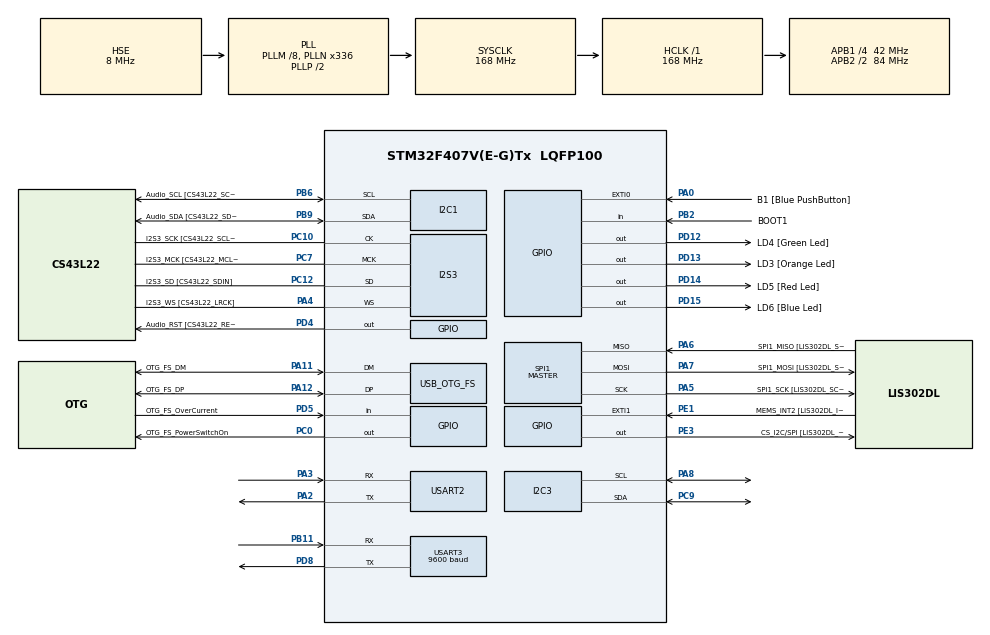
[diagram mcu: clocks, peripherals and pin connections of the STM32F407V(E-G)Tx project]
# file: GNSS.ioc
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Dma.Request0=USART3_RX
Dma.USART3_RX.0.Direction=DMA_PERIPH_TO_MEMORY
Dma.USART3_RX.0.FIFOMode=DMA_FIFOMODE_DISABLE
Dma.USART3_RX.0.Instance=DMA1_Stream1
Dma.USART3_RX.0.MemDataAlignment=DMA_MDATAALIGN_BYTE
Dma.USART3_RX.0.MemInc=DMA_MINC_ENABLE
Dma.USART3_RX.0.Mode=DMA_NORMAL
Dma.USART3_RX.0.PeriphDataAlignment=DMA_PDATAALIGN_BYTE
Dma.USART3_RX.0.PeriphInc=DMA_PINC_DISABLE
Dma.USART3_RX.0.Priority=DMA_PRIORITY_LOW
I2C3.I2C_Mode=I2C_Fast
I2S3.AudioFreq-Half_Duplex_Master=I2S_AUDIOFREQ_96K
I2S3.ErrorAudioFreq=-2.34 %
I2S3.ErrorAudioFreq-Half_Duplex_Master=0.8 %
I2S3.FullDuplexMode=I2S_FULLDUPLEXMODE_DISABLE
I2S3.Instance=SPI$Index
I2S3.RealAudioFreq=93.75 KHz
I2S3.RealAudioFreq-Half_Duplex_Master=96.774 KHz
I2S3.VirtualMode=I2S_MODE_MASTER
Mcu.Family=STM32F4
Mcu.Name=STM32F407V(E-G)Tx
Mcu.Package=LQFP100
NVIC.DMA1_Stream1_IRQn=true\:0\:0\:false\:false\:true\:false\:true
NVIC.OTG_FS_IRQn=true\:0\:0\:false\:false\:true\:true\:true
NVIC.PriorityGroup=NVIC_PRIORITYGROUP_0
PA0-WKUP.GPIO_Label=B1 [Blue PushButton]
PA0-WKUP.GPIO_ModeDefaultEXTI=GPIO_MODE_EVT_RISING
PA0-WKUP.GPIO_PuPd=GPIO_NOPULL
PA0-WKUP.Signal=GPXTI0
PA10.GPIO_Label=OTG_FS_ID
PA10.GPIO_Mode=GPIO_MODE_AF_PP
PA10.GPIO_PuPd=GPIO_NOPULL
PA10.GPIO_Speed=GPIO_SPEED_FREQ_LOW
PA10.Signal=USB_OTG_FS_ID
PA11.GPIO_Label=OTG_FS_DM
PA11.GPIO_Mode=GPIO_MODE_AF_PP
PA11.GPIO_PuPd=GPIO_NOPULL
PA11.GPIO_Speed=GPIO_SPEED_FREQ_LOW
PA11.Mode=Device_Only
PA11.Signal=USB_OTG_FS_DM
PA12.GPIO_Label=OTG_FS_DP
PA12.GPIO_Mode=GPIO_MODE_AF_PP
PA12.GPIO_PuPd=GPIO_NOPULL
PA12.GPIO_Speed=GPIO_SPEED_FREQ_LOW
PA12.Mode=Device_Only
PA12.Signal=USB_OTG_FS_DP
PA13.GPIO_Label=SWDIO
PA13.Mode=Serial_Wire
PA13.Signal=SYS_JTMS-SWDIO
PA14.GPIO_Label=SWCLK
PA14.Mode=Serial_Wire
PA14.Signal=SYS_JTCK-SWCLK
PA2.Mode=Asynchronous
PA2.Signal=USART2_TX
PA3.Mode=Asynchronous
PA3.Signal=USART2_RX
PA4.GPIO_Label=I2S3_WS [CS43L22_LRCK]
PA4.GPIO_Mode=GPIO_MODE_AF_PP
PA4.GPIO_PuPd=GPIO_NOPULL
PA4.GPIO_Speed=GPIO_SPEED_FREQ_LOW
PA4.Mode=Half_Duplex_Master
PA4.Signal=I2S3_WS
PA5.GPIO_Label=SPI1_SCK [LIS302DL_SCL/SPC]
PA5.GPIO_Mode=GPIO_MODE_AF_PP
PA5.GPIO_PuPd=GPIO_NOPULL
PA5.GPIO_Speed=GPIO_SPEED_FREQ_LOW
PA5.Mode=Full_Duplex_Master
PA5.Signal=SPI1_SCK
PA6.GPIO_Label=SPI1_MISO [LIS302DL_SDO]
PA6.GPIO_Mode=GPIO_MODE_AF_PP
PA6.GPIO_PuPd=GPIO_NOPULL
PA6.GPIO_Speed=GPIO_SPEED_FREQ_LOW
PA6.Mode=Full_Duplex_Master
PA6.Signal=SPI1_MISO
PA7.GPIO_Label=SPI1_MOSI [LIS302DL_SDA/SDI/SDO]
PA7.GPIO_Mode=GPIO_MODE_AF_PP
PA7.GPIO_PuPd=GPIO_NOPULL
PA7.GPIO_Speed=GPIO_SPEED_FREQ_LOW
PA7.Mode=Full_Duplex_Master
PA7.Signal=SPI1_MOSI
PA8.GPIO_Pu=GPIO_PULLUP
PA8.Mode=I2C
PA8.Signal=I2C3_SCL
PA9.GPIO_Label=VBUS_FS
PA9.GPIO_Mode=GPIO_MODE_INPUT
PA9.GPIO_PuPd=GPIO_NOPULL
PA9.Signal=USB_OTG_FS_VBUS
PB10.GPIO_Label=CLK_IN [MP45DT02_CLK]
PB10.GPIO_Mode=GPIO_MODE_AF_PP
PB10.GPIO_PuPd=GPIO_NOPULL
PB10.GPIO_Speed=GPIO_SPEED_FREQ_LOW
PB10.Signal=I2S2_CK
PB11.Mode=Asynchronous
PB11.Signal=USART3_RX
PB2.GPIO_Label=BOOT1
PB2.GPIO_Mode=GPIO_MODE_INPUT
PB2.GPIO_PuPd=GPIO_NOPULL
PB2.Signal=GPIO_Input
PB3.GPIO_Label=SWO
PB3.Signal=SYS_JTDO-SWO
PB6.GPIO_Label=Audio_SCL [CS43L22_SCL]
PB6.GPIO_Mode=GPIO_MODE_AF_OD
PB6.GPIO_Pu=GPIO_PULLUP
PB6.GPIO_PuPd=GPIO_NOPULL
PB6.GPIO_Speed=GPIO_SPEED_FREQ_LOW
PB6.Mode=I2C
PB6.Signal=I2C1_SCL
PB9.GPIO_Label=Audio_SDA [CS43L22_SDA]
PB9.GPIO_Mode=GPIO_MODE_AF_OD
PB9.GPIO_Pu=GPIO_PULLUP
PB9.GPIO_PuPd=GPIO_NOPULL
PB9.GPIO_Speed=GPIO_SPEED_FREQ_LOW
PB9.Mode=I2C
PB9.Signal=I2C1_SDA
PC0.GPIO_Label=OTG_FS_PowerSwitchOn
PC0.GPIO_PuPd=GPIO_NOPULL
PC0.GPIO_Speed=GPIO_SPEED_FREQ_LOW
PC0.PinState=GPIO_PIN_SET
PC0.Signal=GPIO_Output
PC10.GPIO_Label=I2S3_SCK [CS43L22_SCLK]
PC10.GPIO_Mode=GPIO_MODE_AF_PP
PC10.GPIO_PuPd=GPIO_NOPULL
PC10.GPIO_Speed=GPIO_SPEED_FREQ_LOW
PC10.Mode=Half_Duplex_Master
PC10.Signal=I2S3_CK
PC12.GPIO_Label=I2S3_SD [CS43L22_SDIN]
PC12.GPIO_Mode=GPIO_MODE_AF_PP
PC12.GPIO_PuPd=GPIO_NOPULL
PC12.GPIO_Speed=GPIO_SPEED_FREQ_LOW
PC12.Mode=Half_Duplex_Master
PC12.Signal=I2S3_SD
PC14-OSC32_IN.GPIO_Label=PC14-OSC32_IN
PC14-OSC32_IN.Mode=LSE-External-Oscillator
PC14-OSC32_IN.Signal=RCC_OSC32_IN
PC15-OSC32_OUT.GPIO_Label=PC15-OSC32_OUT
PC15-OSC32_OUT.Mode=LSE-External-Oscillator
PC15-OSC32_OUT.Signal=RCC_OSC32_OUT
PC3.GPIO_Label=PDM_OUT [MP45DT02_DOUT]
PC3.GPIO_Mode=GPIO_MODE_AF_PP
PC3.GPIO_PuPd=GPIO_NOPULL
PC3.GPIO_Speed=GPIO_SPEED_FREQ_LOW
PC3.Signal=I2S2_SD
PC7.GPIO_Label=I2S3_MCK [CS43L22_MCLK]
PC7.GPIO_Mode=GPIO_MODE_AF_PP
PC7.GPIO_PuPd=GPIO_NOPULL
PC7.GPIO_Speed=GPIO_SPEED_FREQ_LOW
PC7.Mode=Master_Clock_Activated
PC7.Signal=I2S3_MCK
PC9.GPIO_Pu=GPIO_PULLUP
PC9.Mode=I2C
PC9.Signal=I2C3_SDA
PD12.GPIO_Label=LD4 [Green Led]
PD12.GPIO_PuPd=GPIO_NOPULL
PD12.GPIO_Speed=GPIO_SPEED_FREQ_LOW
PD12.Signal=GPIO_Output
PD13.GPIO_Label=LD3 [Orange Led]
PD13.GPIO_PuPd=GPIO_NOPULL
PD13.GPIO_Speed=GPIO_SPEED_FREQ_LOW
PD13.Signal=GPIO_Output
PD14.GPIO_Label=LD5 [Red Led]
PD14.GPIO_PuPd=GPIO_NOPULL
PD14.GPIO_Speed=GPIO_SPEED_FREQ_LOW
PD14.Signal=GPIO_Output
PD15.GPIO_Label=LD6 [Blue Led]
PD15.GPIO_PuPd=GPIO_NOPULL
PD15.GPIO_Speed=GPIO_SPEED_FREQ_LOW
PD15.Signal=GPIO_Output
PD4.GPIO_Label=Audio_RST [CS43L22_RESET]
PD4.GPIO_PuPd=GPIO_NOPULL
PD4.GPIO_Speed=GPIO_SPEED_FREQ_LOW
PD4.Signal=GPIO_Output
PD5.GPIO_Label=OTG_FS_OverCurrent
PD5.GPIO_Mode=GPIO_MODE_INPUT
PD5.GPIO_PuPd=GPIO_NOPULL
PD5.Signal=GPIO_Input
PD8.Mode=Asynchronous
PD8.Signal=USART3_TX
PE1.GPIO_Label=MEMS_INT2 [LIS302DL_INT2]
PE1.GPIO_ModeDefaultEXTI=GPIO_MODE_EVT_RISING
PE1.GPIO_PuPd=GPIO_NOPULL
PE1.Signal=GPXTI1
PE3.GPIO_Label=CS_I2C/SPI [LIS302DL_CS_I2C/SPI]
PE3.GPIO_PuPd=GPIO_NOPULL
PE3.GPIO_Speed=GPIO_SPEED_FREQ_LOW
PE3.Signal=GPIO_Output
PH0-OSC_IN.GPIO_Label=PH0-OSC_IN
PH0-OSC_IN.Mode=HSE-External-Oscillator
PH0-OSC_IN.Signal=RCC_OSC_IN
PH1-OSC_OUT.GPIO_Label=PH1-OSC_OUT
PH1-OSC_OUT.Mode=HSE-External-Oscillator
PH1-OSC_OUT.Signal=RCC_OSC_OUT
ProjectManager.HeapSize=0xC00
ProjectManager.StackSize=0x400
ProjectManager.TargetToolchain=STM32CubeIDE
RCC.48MHZClocksFreq_Value=48000000
RCC.AHBFreq_Value=168000000
RCC.APB1CLKDivider=RCC_HCLK_DIV4
RCC.APB1Freq_Value=42000000
RCC.APB1TimFreq_Value=84000000
RCC.APB2CLKDivider=RCC_HCLK_DIV2
RCC.APB2Freq_Value=84000000
RCC.APB2TimFreq_Value=168000000
RCC.CortexFreq_Value=168000000
RCC.HCLKFreq_Value=168000000
RCC.HSE_VALUE=8000000
RCC.HSI_VALUE=16000000
RCC.PLLM=8
RCC.PLLN=336
RCC.PLLQ=7
RCC.SYSCLKFreq_VALUE=168000000
RCC.SYSCLKSource=RCC_SYSCLKSOURCE_PLLCLK
RCC.VCOOutputFreq_Value=336000000
SPI1.BaudRatePrescaler-Full_Duplex_Master=SPI_BAUDRATEPRESCALER_2
SPI1.CalculateBaudRate-Full_Duplex_Master=42.0 MBits/s
SPI1.Direction=SPI_DIRECTION_2LINES
SPI1.Mode=SPI_MODE_MASTER
SPI1.Mode-Full_Duplex_Master=SPI_MODE_MASTER
SPI1.VirtualType=VM_MASTER
USART2.VirtualMode=VM_ASYNC
USART3.BaudRate=9600
USART3.VirtualMode=VM_ASYNC
USB_DEVICE.CLASS_NAME_FS=CDC
USB_DEVICE.VirtualMode-CDC_FS=Cdc
USB_DEVICE.VirtualModeFS=Cdc_FS
USB_OTG_FS.VirtualMode=Device_Only
VP_USB_DEVICE_VS_USB_DEVICE_CDC_FS.Mode=CDC_FS
board=STM32F407G-DISC1

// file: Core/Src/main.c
/* USER CODE BEGIN Header */
/**
  ******************************************************************************
  * @file           : main.c
  * @brief          : Main program body
  ******************************************************************************
  * @attention
  *
  * Copyright (c) 2022 STMicroelectronics.
  * All rights reserved.
  *
  * This software is licensed under terms that can be found in the LICENSE file
  * in the root directory of this software component.
  * If no LICENSE file comes with this software, it is provided AS-IS.
  *
  ******************************************************************************
  */
/* USER CODE END Header */
#include "main.h"
#include "dma.h"
#include "i2c.h"
#include "i2s.h"
#include "spi.h"
#include "usart.h"
#include "usb_device.h"
#include "gpio.h"

/* USER CODE BEGIN PD */
#ifndef TRUE
#define	TRUE	1
#endif

#ifndef FALSE
#define	FALSE	0
#endif

#define	UART_BUFFER_SIZE	(1024*8)
#define	TX_BUFFER_SIZE		1024
/* USER CODE END PD */

/* USER CODE BEGIN PV */
uint8_t		UART_Receive_data[UART_BUFFER_SIZE],tx_buffer[TX_BUFFER_SIZE];
uint32_t	head,tail;
/* USER CODE END PV */

void SystemClock_Config(void);
/* USER CODE BEGIN PFP */
#ifdef __GNUC__
#define PUTCHAR_PROTOTYPE int __io_putchar(int ch)
#else
#define PUTCHAR_PROTOTYPE int fputc(int ch, FILE *f)
#endif
/* USER CODE END PFP */

/* USER CODE BEGIN 0 */
static uint8_t	uart_dma_ready(UART_HandleTypeDef* huart)
{
	tail = (UART_BUFFER_SIZE-(huart->hdmarx->Instance->NDTR));
	return	((tail!=head)?TRUE:FALSE);
}

static void	init_uart_dma(UART_HandleTypeDef* huart)
{
	HAL_UART_Receive_DMA(huart,UART_Receive_data,sizeof(UART_Receive_data));
	CLEAR_BIT(huart->Instance->CR1, USART_CR1_PEIE);
	CLEAR_BIT(huart->Instance->CR3, USART_CR3_EIE);
}

static uint8_t	get_data_from_uart_dma(void)
{
	uint8_t	ret;

	ret = UART_Receive_data[head];
	head = (head+1)%UART_BUFFER_SIZE;

	return	ret;
}

static void clear_uart_dma(void)
{
	head = tail = 0;
}

PUTCHAR_PROTOTYPE
{
  HAL_UART_Transmit(&huart2, (uint8_t *)&ch, 1, HAL_MAX_DELAY);
  return ch;
}
/* USER CODE END 0 */

int main(void)
{

  /* MCU Configuration--------------------------------------------------------*/

  /* Reset of all peripherals, Initializes the Flash interface and the Systick. */
  HAL_Init();

  /* Configure the system clock */
  SystemClock_Config();

  /* Initialize all configured peripherals */
  MX_GPIO_Init();
  MX_I2C1_Init();
  MX_I2S3_Init();
  MX_SPI1_Init();
  MX_USART2_UART_Init();
  MX_I2C3_Init();
  MX_DMA_Init();
  MX_USART3_UART_Init();
  MX_USB_DEVICE_Init();
  /* USER CODE BEGIN 2 */
  config_imu_interface();
  init_uart_dma(&huart3);clear_uart_dma();
  /* USER CODE END 2 */

  /* Infinite loop */
  /* USER CODE BEGIN WHILE */
  while (1)
  {
	  static uint32_t	pos = 0;

	  for(;uart_dma_ready(&huart3)==TRUE;)
	  {
		tx_buffer[pos++] = get_data_from_uart_dma();

		if( pos == TX_BUFFER_SIZE )
		{
			printf("%s",tx_buffer);
			pos = 0;
		}
	  }

	  lsm6dsox_sh_lis2mdl();
    /* USER CODE END WHILE */

  }
}

void SystemClock_Config(void)
{
  RCC_OscInitTypeDef RCC_OscInitStruct = {0};
  RCC_ClkInitTypeDef RCC_ClkInitStruct = {0};

  /** Configure the main internal regulator output voltage
  */
  __HAL_RCC_PWR_CLK_ENABLE();
  __HAL_PWR_VOLTAGESCALING_CONFIG(PWR_REGULATOR_VOLTAGE_SCALE1);
  /** Initializes the RCC Oscillators according to the specified parameters
  * in the RCC_OscInitTypeDef structure.
  */
  RCC_OscInitStruct.OscillatorType = RCC_OSCILLATORTYPE_HSE;
  RCC_OscInitStruct.HSEState = RCC_HSE_ON;
  RCC_OscInitStruct.PLL.PLLState = RCC_PLL_ON;
  RCC_OscInitStruct.PLL.PLLSource = RCC_PLLSOURCE_HSE;
  RCC_OscInitStruct.PLL.PLLM = 8;
  RCC_OscInitStruct.PLL.PLLN = 336;
  RCC_OscInitStruct.PLL.PLLP = RCC_PLLP_DIV2;
  RCC_OscInitStruct.PLL.PLLQ = 7;
  if (HAL_RCC_OscConfig(&RCC_OscInitStruct) != HAL_OK)
  {
    Error_Handler();
  }
  /** Initializes the CPU, AHB and APB buses clocks
  */
  RCC_ClkInitStruct.ClockType = RCC_CLOCKTYPE_HCLK|RCC_CLOCKTYPE_SYSCLK
                              |RCC_CLOCKTYPE_PCLK1|RCC_CLOCKTYPE_PCLK2;
  RCC_ClkInitStruct.SYSCLKSource = RCC_SYSCLKSOURCE_PLLCLK;
  RCC_ClkInitStruct.AHBCLKDivider = RCC_SYSCLK_DIV1;
  RCC_ClkInitStruct.APB1CLKDivider = RCC_HCLK_DIV4;
  RCC_ClkInitStruct.APB2CLKDivider = RCC_HCLK_DIV2;

  if (HAL_RCC_ClockConfig(&RCC_ClkInitStruct, FLASH_LATENCY_5) != HAL_OK)
  {
    Error_Handler();
  }
}

void Error_Handler(void)
{
  __disable_irq();
  while (1)
  {
  }
}
